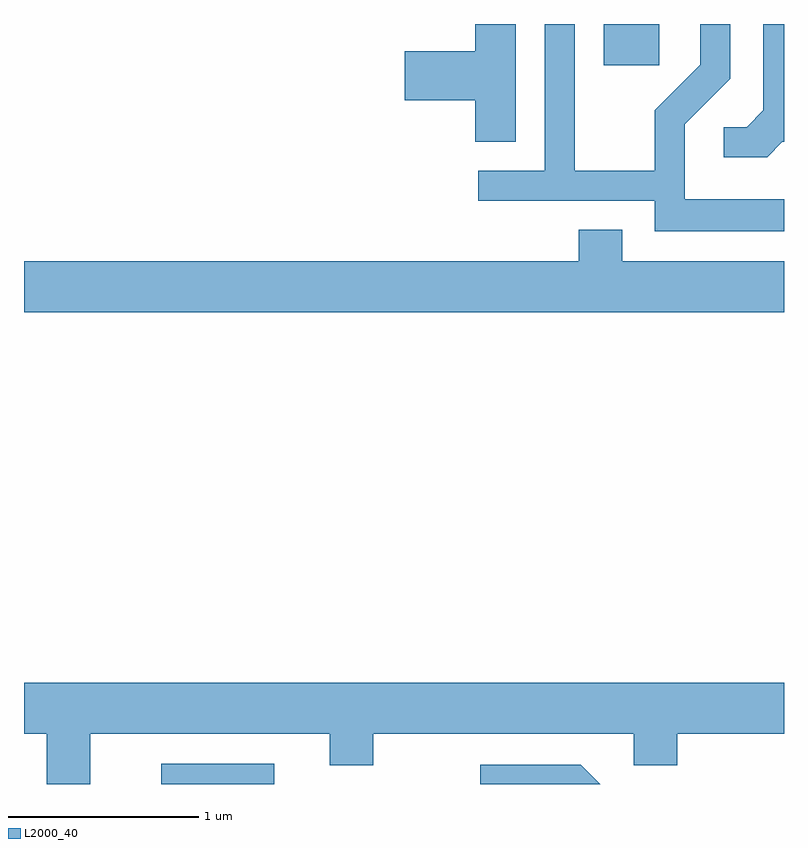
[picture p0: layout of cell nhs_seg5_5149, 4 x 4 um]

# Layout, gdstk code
import gdstk
lib = gdstk.Library(unit=1e-6, precision=1e-09)
def R(c, l, rs):  # rectangles x0, y0, x1, y1
    for r in rs: c.add(gdstk.rectangle(r[:2], r[2:], *l))
def P(c, l, *ps):  # polygons
    for p in ps: c.add(gdstk.Polygon(p, *l))
L2000_40 = (2000, 40)

nhs_seg5_5149 = lib.new_cell('nhs_seg5_5149')
R(nhs_seg5_5149, L2000_40, [(338.333,1472.072,338.929,1472.179), (340.661,1475.856,340.954,1476.072)])
P(nhs_seg5_5149, L2000_40, [(340.199,1476.072),(339.986,1476.072),(339.986,1475.929),(339.616,1475.929),(339.616,1475.671),(339.986,1475.671),(339.986,1475.451),(340.199,1475.451)],
  [(341.611,1475.149),(341.089,1475.149),(341.089,1475.544),(341.329,1475.784),(341.329,1476.072),(341.171,1476.072),(341.171,1475.857),(340.931,1475.617),(340.931,1475.299),(340.509,1475.299),(340.509,1476.072),(340.351,1476.072),(340.351,1475.299),(340.003,1475.299),(340.003,1475.141),(340.931,1475.141),(340.931,1474.981),(341.611,1474.981)],
  [(341.602,1475.451),(341.611,1475.451),(341.611,1476.072),(341.501,1476.072),(341.501,1475.617),(341.414,1475.529),(341.293,1475.529),(341.293,1475.371),(341.522,1475.371)],
  [(341.611,1474.824),(340.759,1474.824),(340.759,1474.989),(340.531,1474.989),(340.531,1474.824),(337.611,1474.824),(337.611,1474.556),(341.611,1474.556)],
  [(337.959,1472.336),(339.221,1472.336),(339.221,1472.171),(339.449,1472.171),(339.449,1472.336),(340.821,1472.336),(340.821,1472.171),(341.049,1472.171),(341.049,1472.336),(341.611,1472.336),(341.611,1472.604),(337.611,1472.604),(337.611,1472.336),(337.731,1472.336),(337.731,1472.072),(337.959,1472.072)],
  [(340.542,1472.174),(340.013,1472.174),(340.013,1472.072),(340.644,1472.072)])

lib.write_gds('nhs_seg5_5149.gds')
